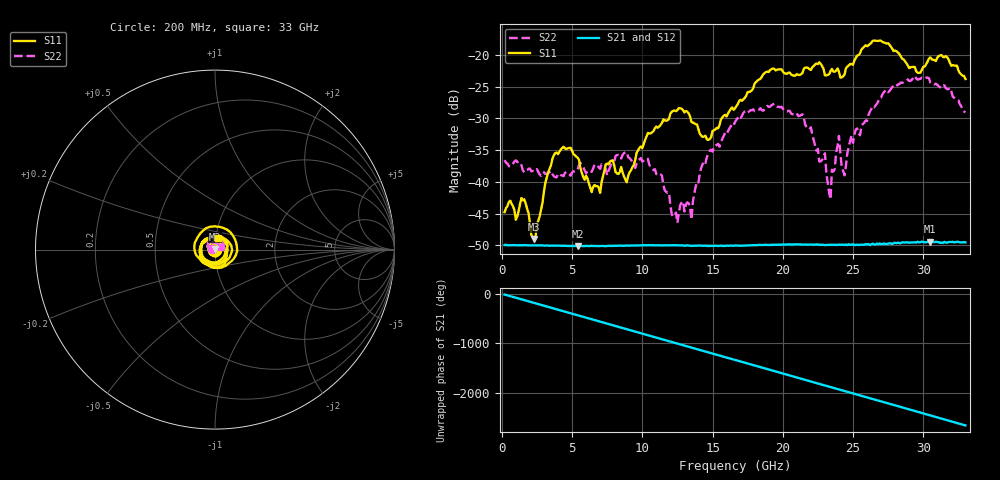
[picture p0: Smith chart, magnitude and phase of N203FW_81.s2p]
# GHZ S RI R 50
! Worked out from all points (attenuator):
!   329 points, 200 MHz to 33 GHz, reference 50 ohm
!   highest |S21| = -49.39 dB at 30.5 GHz (marker M1); lowest = -50.1 dB at 5.4 GHz (marker M2)
!   lowest |S11| = -49.0 dB at 2.3 GHz (marker M3), VSWR 1.01, Z = 50.1 + j0.34 ohm
!   |S11| at or under -10 dB: start of sweep to end of sweep
!   |S22| runs from -46.4 to -23.3 dB; largest |S21 - S12| = 8.8e-05
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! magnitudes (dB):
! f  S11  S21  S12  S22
! 200 MHz  -44.8  -49.9  -49.9  -36.6
! 1.6 GHz  -42.7  -50.0  -50.0  -38.5
! 2.3 GHz  -49.0  -50.0  -50.0  -38.3
! 3.7 GHz  -35.8  -50.1  -50.0  -39.1
! 5.4 GHz  -36.2  -50.1  -50.1  -38.1
! 5.7 GHz  -38.6  -50.1  -50.1  -37.4
! 8.9 GHz  -40.0  -50.0  -50.0  -35.3
! 11.2 GHz  -31.3  -50.0  -50.0  -38.6
! 12.5 GHz  -28.7  -50.0  -50.0  -46.4
! 13.5 GHz  -30.5  -50.1  -50.1  -45.9
! 14.3 GHz  -32.9  -50.1  -50.0  -37.2
! 16.6 GHz  -28.4  -50.0  -50.0  -30.6
! 19.4 GHz  -22.2  -49.9  -49.9  -27.7
! 22.1 GHz  -22.0  -49.9  -49.9  -32.5
! 23 GHz  -23.2  -50.0  -49.9  -35.5
! 23.4 GHz  -22.6  -49.9  -49.9  -42.7
! 24 GHz  -22.6  -49.9  -49.9  -32.8
! 24.4 GHz  -23.1  -49.9  -49.8  -39.0
! 24.9 GHz  -21.4  -49.9  -49.8  -32.7
! 27.6 GHz  -18.4  -49.7  -49.7  -25.7
! 30.5 GHz  -20.4  -49.4  -49.5  -24.3
! 33 GHz  -23.8  -49.5  -49.6  -29.0
